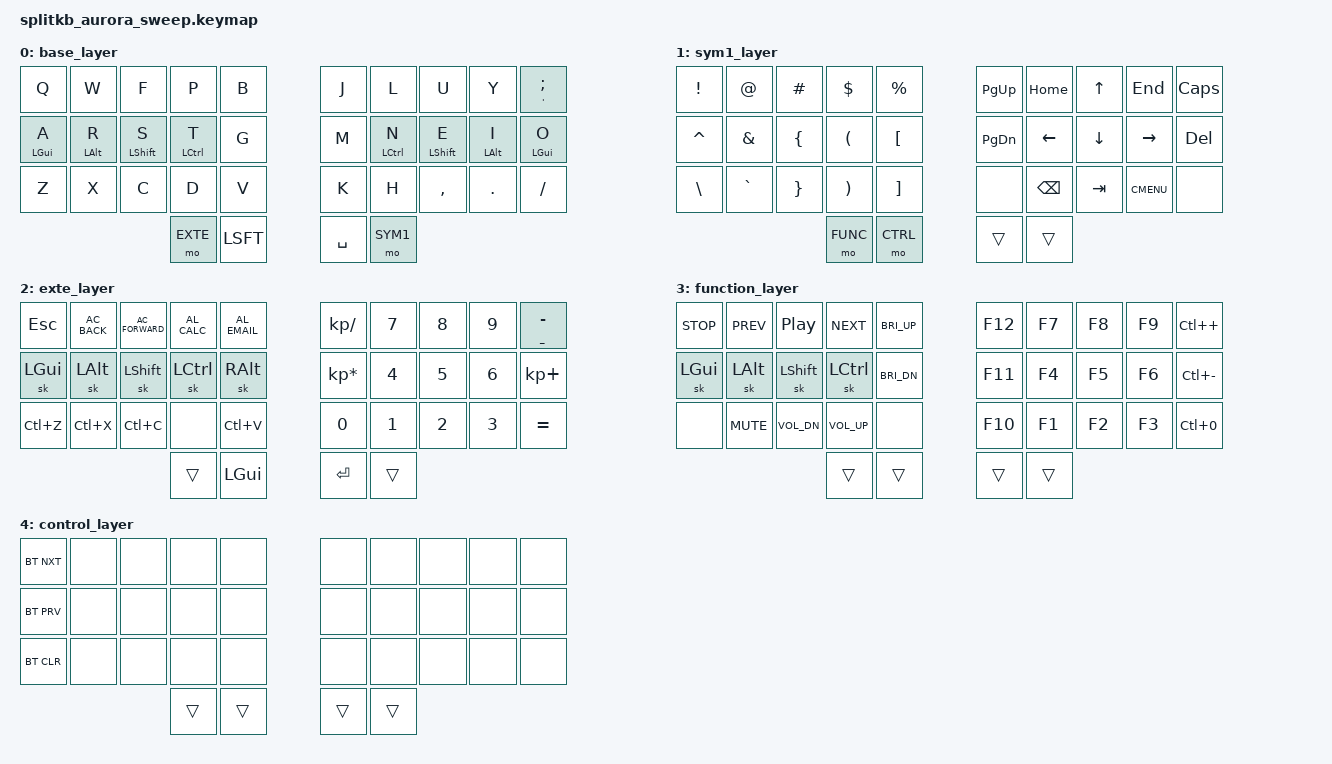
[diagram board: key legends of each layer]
/*
 * Copyright (c) 2022 The ZMK Contributors
 *
 * SPDX-License-Identifier: MIT
 */

#include <behaviors.dtsi>
#include <dt-bindings/zmk/keys.h>
#include <dt-bindings/zmk/bt.h>
#include <dt-bindings/zmk/rgb.h>
#include <dt-bindings/zmk/ext_power.h>

#define BASE    0
#define SYM1    1
#define EXTE    2
#define FUNC    3
#define CTRL    4

&led_strip {
    chain-length = <23>;
};

&mt {
   flavor = "tap-preferred";
   tapping_term_ms = <200>;
};

/ {

    combos {
        compatible = "zmk,combos";
        combo_esc {
            timeout-ms = <25>;
            key-positions = <0 1>;
            bindings = <&kp ESC>;
        };

        combo_tab {
            timeout-ms = <25>;
            key-positions = <12 13>;
            bindings = <&kp TAB>;
        };

        combo_screenshot {
            timeout-ms = <25>;
            key-positions = <6 7 8>;
            bindings = <&kp LG(LS(S))>;
        };
    };

    keymap {
        compatible = "zmk,keymap";

        base_layer {
            bindings = <
            &kp Q               &kp W               &kp F               &kp P               &kp B 	             &kp J              &kp L               &kp U               &kp Y               &mt SQT SEMI
            &mt LGUI A          &mt LALT R          &mt LSHFT S         &mt LCTRL T         &kp G 	             &kp M              &mt LCTRL N         &mt LSHFT E         &mt LALT I          &mt LGUI O
            &kp Z               &kp X               &kp C               &kp D               &kp V	             &kp K              &kp H               &kp COMMA           &kp DOT             &kp FSLH
                                                                        &mo EXTE            &kp LSFT             &kp SPC            &mo SYM1
            >;
        };

        sym1_layer {
            bindings = <
            &kp EXCL            &kp AT              &kp HASH            &kp DLLR            &kp PRCNT           &kp PG_UP           &kp HOME            &kp UP              &kp END             &kp CAPS
            &kp CARET           &kp AMPS            &kp LBRC            &kp LPAR            &kp LBKT  	        &kp PG_DN           &kp LEFT            &kp DOWN            &kp RIGHT           &kp DEL
            &kp BSLH            &kp GRAVE           &kp RBRC            &kp RPAR            &kp RBKT            &none               &kp BKSP            &kp TAB             &kp K_CMENU         &none
                                                                        &mo FUNC            &mo CTRL            &trans              &trans
            >;
        };

        exte_layer {
            bindings = <
            &kp ESC             &kp C_AC_BACK       &kp C_AC_FORWARD    &kp C_AL_CALC       &kp C_AL_EMAIL      &kp KP_DIVIDE       &kp N7              &kp N8             &kp N9              &mt UNDER MINUS
            &sk LGUI            &sk LALT            &sk LSHFT           &sk LCTRL           &sk RALT            &kp KP_ASTERISK     &kp N4              &kp N5             &kp N6              &kp KP_PLUS
            &kp LC(Z)           &kp LC(X)           &kp LC(C)           &none               &kp LC(V)           &kp N0              &kp N1              &kp N2             &kp N3              &kp EQUAL
                                                                        &trans              &kp LGUI            &kp ENTER           &trans
            >;
        };

        function_layer {
            bindings = <
            &kp C_STOP          &kp C_PREV          &kp C_PLAY_PAUSE    &kp C_NEXT          &kp C_BRI_UP        &kp F12             &kp F7              &kp F8              &kp F9              &kp LC(PLUS)
            &sk LGUI            &sk LALT            &sk LSHFT           &sk LCTRL           &kp C_BRI_DN        &kp F11             &kp F4              &kp F5              &kp F6              &kp LC(MINUS)
            &none               &kp C_MUTE          &kp C_VOL_DN        &kp C_VOL_UP        &none               &kp F10             &kp F1              &kp F2              &kp F3              &kp LC(0)
                                                                        &trans              &trans              &trans              &trans
            >;
        };

        control_layer {
            bindings = <
            &bt BT_NXT          &none               &none               &none               &none               &none               &none               &none               &none               &none
            &bt BT_PRV          &none               &none               &none               &none               &none               &none               &none               &none               &none
            &bt BT_CLR          &none               &none               &none               &none               &none               &none               &none               &none               &none
                                                                        &trans              &trans              &trans              &trans
            >;
        };
    };
};
